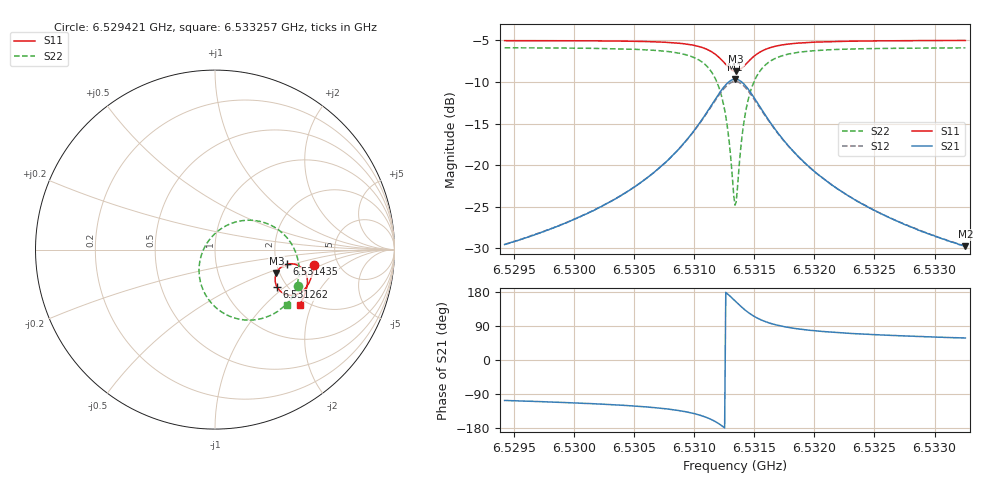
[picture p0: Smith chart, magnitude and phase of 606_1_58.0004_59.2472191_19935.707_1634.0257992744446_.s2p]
#  HZ  S  RI  R  50.00
! Rohde & Schwarz Vector Network Analyzer
! Rohde-Schwarz,ZNB20-2Port,1311601062101988,3.16
! Created: UTC 3/21/2024, 1:17:25 AM
! freq[Hz]  re:S11  im:S11  re:S21  im:S21  re:S12  im:S12  re:S22  im:S22
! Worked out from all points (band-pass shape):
!   401 points, 6.529421 GHz to 6.533257 GHz, reference 50 ohm
!   highest |S21| = -9.67 dB at 6.531339 GHz (marker M1); lowest = -29.8 dB at 6.533257 GHz (marker M2)
!   |S21| within 3 dB of the highest: 6.531149 GHz to 6.531532 GHz (383.4 kHz wide, 0.00587 % of centre)
!   lowest |S11| = -8.7 dB at 6.531348 GHz (marker M3), VSWR 2.16, Z = 96.4 - j29 ohm
!   |S11| at or under -10 dB: nowhere
!   |S22| runs from -24.8 to -5.9 dB; largest |S21 - S12| = 0.014
!   S11 on the Smith chart (normalised r, x): 6.529421 GHz: 3.31, -0.85; 6.531262 GHz: 1.77, -0.88; 6.531435 GHz: 2.28, -0.45; 6.533257 GHz: 1.83, -1.64
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6.5294212e9  0.5536 -0.0885  -0.00961 -0.0318  -0.0103 -0.0316  0.4648 -0.2047
6.5300636e9  0.541 -0.1425  -0.0201 -0.0451  -0.0213 -0.0445  0.4299 -0.2645
6.5304376e9  0.5272 -0.1781  -0.0346 -0.0596  -0.0362 -0.0585  0.392 -0.3092
6.5307061e9  0.5097 -0.2081  -0.0574 -0.0765  -0.0596 -0.0748  0.3407 -0.3495
6.5309362e9  0.4785 -0.2382  -0.1034 -0.0962  -0.1063 -0.0926  0.2486 -0.3868
6.5310992e9  0.4294 -0.2546  -0.1795 -0.0984  -0.1814 -0.0908  0.1104 -0.3815
6.5311951e9  0.3805 -0.2435  -0.2543 -0.0622  -0.2522 -0.0516  -0.0122 -0.3064
6.5312622e9  0.3455 -0.2083  -0.304 0.00848  -0.2959 0.0188  -0.0814 -0.1788
6.5312909e9  0.3368 -0.1843  -0.3138 0.0528  -0.3031 0.0608  -0.0889 -0.1045
6.5313197e9  0.3354 -0.1574  -0.3107 0.101  -0.2984 0.1061  -0.0745 -0.0261
6.5313389e9  0.3392 -0.1392  -0.3005 0.1327  -0.2881 0.1356  -0.0523 0.0236
6.5313485e9  0.3426 -0.1303  -0.2932 0.1478  -0.2808 0.1496  -0.0375 0.0467
6.5313581e9  0.3469 -0.1221  -0.2844 0.162  -0.2722 0.1627  -0.0205 0.0682
6.5313964e9  0.371 -0.0955  -0.2382 0.2068  -0.2283 0.2042  0.0621 0.1331
6.5314348e9  0.4006 -0.0816  -0.1853 0.2297  -0.178 0.2256  0.1535 0.1614
6.5315019e9  0.4472 -0.0822  -0.1042 0.2291  -0.1008 0.2252  0.2883 0.1456
6.5315978e9  0.4871 -0.1064  -0.036 0.193  -0.0345 0.1911  0.3979 0.0698
6.5317416e9  0.5097 -0.1446  0.00403 0.1416  0.00528 0.1409  0.4557 -0.0331
6.5319813e9  0.5147 -0.1891  0.0199 0.0919  0.021 0.0915  0.4678 -0.1355
6.532269e9  0.5083 -0.2251  0.0218 0.0625  0.0227 0.0622  0.4558 -0.2024
6.5326237e9  0.4961 -0.2586  0.0203 0.0437  0.0212 0.0436  0.436 -0.2528
6.5332566e9  0.4708 -0.3069  0.0172 0.0276  0.0179 0.0272  0.4008 -0.3109
